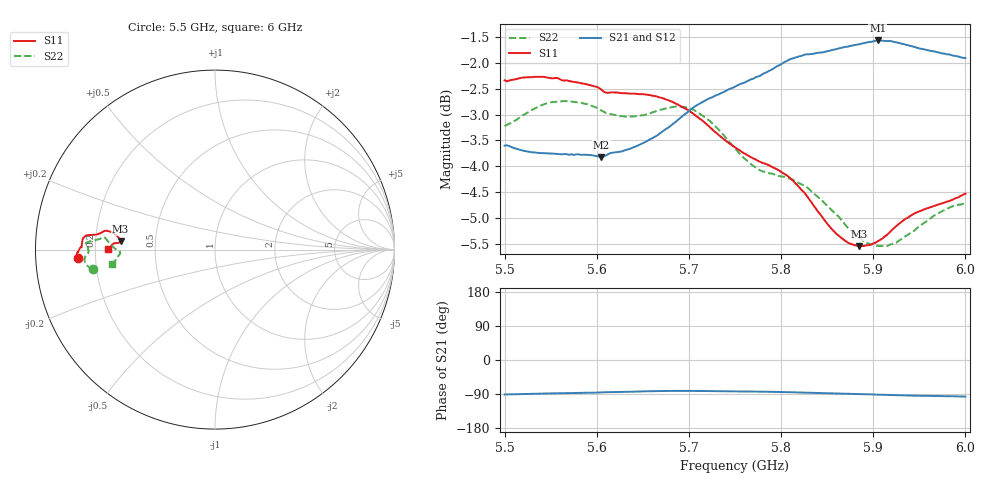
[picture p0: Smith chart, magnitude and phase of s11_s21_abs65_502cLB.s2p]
! MS46122B
! 1919307/90821646
! 6/13/2022 11:48:38 AM
! C:\USERS\PC_\DESKTOP\CARACTERIZACION\MEDICIONES\BANCHA ESTRECHA\55_6GHZ\S11_S21_ABS65_502CL.S2P
! CHANNEL.1
! TR.MEASUREMENT
! CORRECTED.DATA
# GHZ S RI R 50.0
! FREQ.GHZ  S11RE  S11IM  S21RE  S21IM  S12RE  S12IM  S22RE  S22IM
!; PortSelection: Port_12
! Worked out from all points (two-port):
!   201 points, 5.5 GHz to 6 GHz, reference 50 ohm
!   highest |S21| = -1.57 dB at 5.905 GHz (marker M1); lowest = -3.8 dB at 5.605 GHz (marker M2)
!   |S21| within 3 dB of the highest: start of sweep to end of sweep
!   lowest |S11| = -5.5 dB at 5.885 GHz (marker M3), VSWR 3.24, Z = 15.5 + j2.02 ohm
!   |S11| at or under -10 dB: nowhere
!   |S22| runs from -5.5 to -2.7 dB; largest |S21 - S12| = 0.019
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5.5  -0.7624 -0.0487  -0.011 -0.6606  -0.0032 -0.6587  -0.6815 -0.1093
5.5175  -0.767 -0.0378  -0.00059 -0.6544  0.00837 -0.6474  -0.6973 -0.1009
5.5475  -0.7681 -0.0199  0.0189 -0.649  0.0312 -0.6431  -0.7229 -0.0758
5.585  -0.7585 -0.00417  0.0362 -0.6465  0.0511 -0.6432  -0.7248 -0.0423
5.605  -0.7482 0.0122  0.0509 -0.6424  0.065 -0.6404  -0.7139 -0.0259
5.6325  -0.7416 0.0297  0.0688 -0.6511  0.0826 -0.6482  -0.7043 -0.00926
5.6675  -0.7328 0.0648  0.0944 -0.6712  0.1086 -0.6691  -0.7145 0.0222
5.6875  -0.7201 0.0773  0.1019 -0.6914  0.1169 -0.6894  -0.7204 0.0341
5.705  -0.7043 0.081  0.1043 -0.7119  0.1165 -0.711  -0.7145 0.0402
5.7225  -0.6837 0.0824  0.1022 -0.727  0.1124 -0.7282  -0.6967 0.0461
5.75  -0.6526 0.0862  0.0934 -0.7473  0.1026 -0.7467  -0.6542 0.0562
5.775  -0.6315 0.095  0.0888 -0.7653  0.1003 -0.7643  -0.6236 0.0655
5.795  -0.6187 0.1028  0.08 -0.7838  0.0913 -0.7828  -0.6151 0.0684
5.815  -0.5994 0.1046  0.0641 -0.8008  0.0759 -0.8005  -0.6081 0.0599
5.835  -0.571 0.0949  0.0461 -0.8089  0.0564 -0.8083  -0.5931 0.0427
5.86  -0.5387 0.0686  0.0231 -0.8184  0.0366 -0.8146  -0.5671 0.0142
5.885  -0.5263 0.0471  0.00251 -0.8277  0.0142 -0.825  -0.5383 -0.00617
5.905  -0.5329 0.0392  -0.0208 -0.8345  -0.0113 -0.8295  -0.5287 -0.0134
5.9175  -0.5434 0.0367  -0.0327 -0.8333  -0.0265 -0.8273  -0.5297 -0.0219
5.9425  -0.5658 0.0333  -0.0578 -0.8218  -0.0525 -0.8121  -0.5437 -0.0428
5.975  -0.581 0.018  -0.0733 -0.8076  -0.0665 -0.7968  -0.5664 -0.0744
6  -0.5939 0.00102  -0.0912 -0.7975  -0.0791 -0.7908  -0.575 -0.0817
